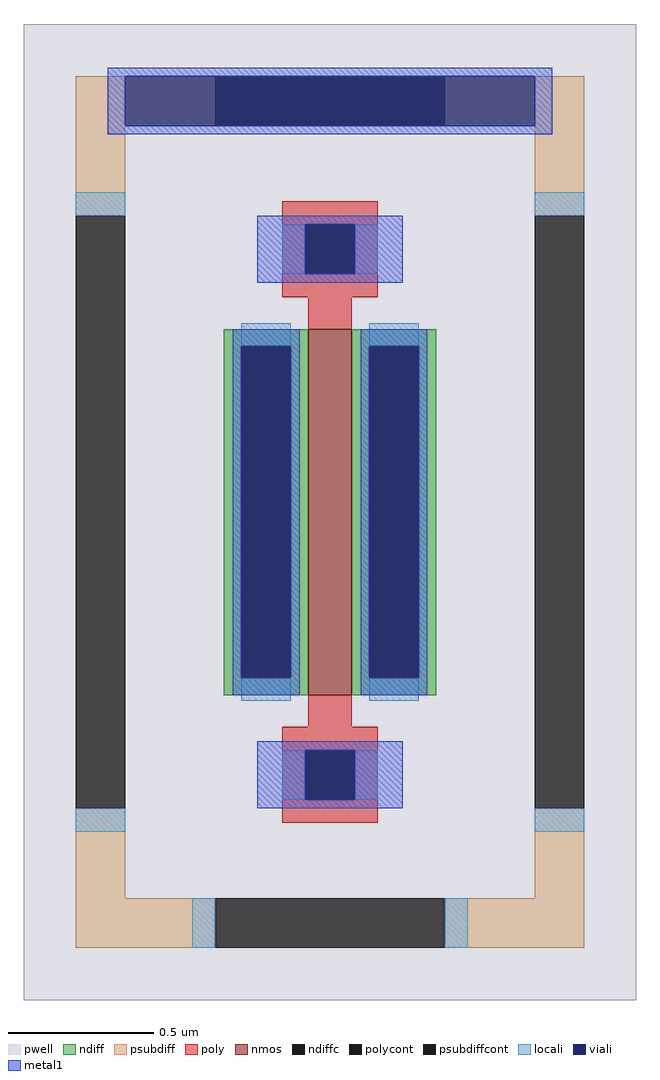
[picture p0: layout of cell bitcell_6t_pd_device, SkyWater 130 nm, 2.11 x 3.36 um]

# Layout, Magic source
magic
tech sky130A
magscale 1 2
<< pwell >>
rect -211 -336 211 336
<< nmos >>
rect -15 -126 15 126
<< ndiff >>
rect -73 114 -15 126
rect -73 -114 -61 114
rect -27 -114 -15 114
rect -73 -126 -15 -114
rect 15 114 73 126
rect 15 -114 27 114
rect 61 -114 73 114
rect 15 -126 73 -114
<< ndiffc >>
rect -61 -114 -27 114
rect 27 -114 61 114
<< psubdiff >>
rect -175 266 -79 300
rect 79 266 175 300
rect -175 204 -141 266
rect 141 204 175 266
rect -175 -266 -141 -204
rect 141 -266 175 -204
rect -175 -300 -79 -266
rect 79 -300 175 -266
<< psubdiffcont >>
rect -79 266 79 300
rect -175 -204 -141 204
rect 141 -204 175 204
rect -79 -300 79 -266
<< poly >>
rect -33 198 33 214
rect -33 164 -17 198
rect 17 164 33 198
rect -33 148 33 164
rect -15 126 15 148
rect -15 -148 15 -126
rect -33 -164 33 -148
rect -33 -198 -17 -164
rect 17 -198 33 -164
rect -33 -214 33 -198
<< polycont >>
rect -17 164 17 198
rect -17 -198 17 -164
<< locali >>
rect -175 204 -141 220
rect 141 204 175 220
rect -33 164 -17 198
rect 17 164 33 198
rect -61 114 -27 130
rect -61 -130 -27 -114
rect 27 114 61 130
rect 27 -130 61 -114
rect -33 -198 -17 -164
rect 17 -198 33 -164
rect -175 -220 -141 -204
rect 141 -220 175 -204
rect -95 -300 -79 -266
rect 79 -300 95 -266
<< viali >>
rect -141 266 -79 300
rect -79 266 79 300
rect 79 266 141 300
rect -17 164 17 198
rect -61 -114 -27 114
rect 27 -114 61 114
rect -17 -198 17 -164
<< metal1 >>
rect -153 300 153 306
rect -153 266 -141 300
rect 141 266 153 300
rect -153 260 153 266
rect -50 198 50 204
rect -50 164 -17 198
rect 17 164 50 198
rect -50 158 50 164
rect -67 114 -21 126
rect -67 -114 -61 114
rect -27 -114 -21 114
rect -67 -126 -21 -114
rect 21 114 67 126
rect 21 -114 27 114
rect 61 -114 67 114
rect 21 -126 67 -114
rect -50 -164 50 -158
rect -50 -198 -17 -164
rect 17 -198 50 -164
rect -50 -204 50 -198
<< properties >>
string FIXED_BBOX -158 -283 158 283
string library sky130
string parameters w 1.26 l 0.15 m 1 nf 1 diffcov 100 polycov 100 guard 1 glc 1 grc 1 gtc 1 gbc 1 tbcov 100 rlcov 100 topc 1 botc 1 poverlap 0 doverlap 1 lmin 0.15 wmin 0.42 class mosfet compatible {sky130_fd_pr__nfet_01v8 sky130_fd_pr__nfet_01v8_lvt  sky130_fd_bs_flash__special_sonosfet_star  sky130_fd_pr__nfet_g5v0d10v5 sky130_fd_pr__nfet_05v0_nvt  sky130_fd_pr__nfet_03v3_nvt} full_metal 0 viasrc 100 viadrn 100 viagate 100 viagb 0 viagr 0 viagl 0 viagt 100
<< end >>
